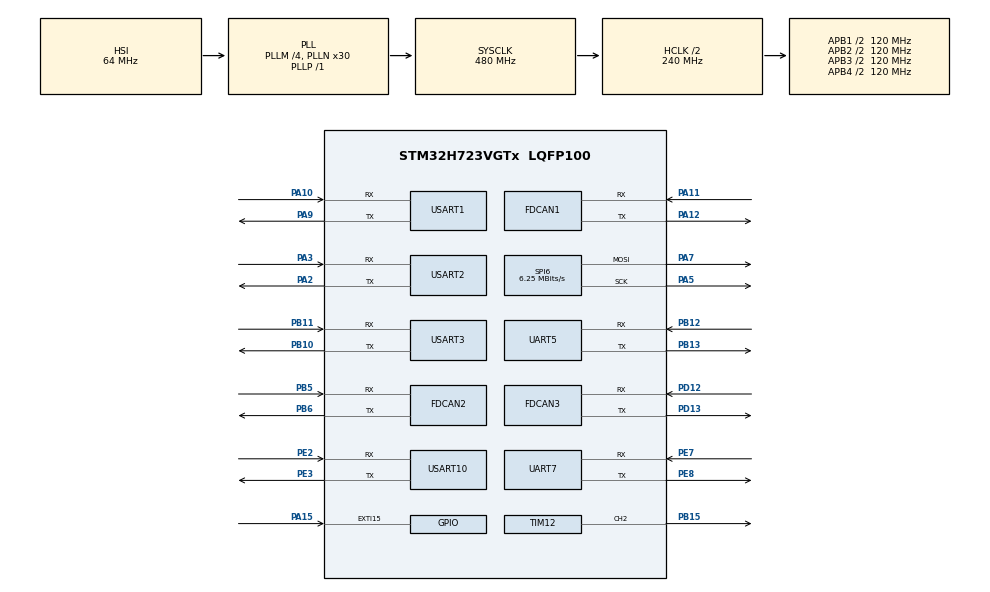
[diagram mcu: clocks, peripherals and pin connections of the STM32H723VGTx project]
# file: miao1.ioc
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Bdma.Request0=SPI6_TX
Bdma.RequestsNb=1
Bdma.SPI6_TX.0.Direction=DMA_MEMORY_TO_PERIPH
Bdma.SPI6_TX.0.EventEnable=DISABLE
Bdma.SPI6_TX.0.Instance=BDMA_Channel2
Bdma.SPI6_TX.0.MemDataAlignment=DMA_MDATAALIGN_BYTE
Bdma.SPI6_TX.0.MemInc=DMA_MINC_ENABLE
Bdma.SPI6_TX.0.Mode=DMA_NORMAL
Bdma.SPI6_TX.0.PeriphDataAlignment=DMA_PDATAALIGN_BYTE
Bdma.SPI6_TX.0.PeriphInc=DMA_PINC_DISABLE
Bdma.SPI6_TX.0.Polarity=HAL_DMAMUX_REQ_GEN_RISING
Bdma.SPI6_TX.0.Priority=DMA_PRIORITY_LOW
Bdma.SPI6_TX.0.RequestNumber=1
Bdma.SPI6_TX.0.SignalID=NONE
Bdma.SPI6_TX.0.SyncEnable=DISABLE
Bdma.SPI6_TX.0.SyncPolarity=HAL_DMAMUX_SYNC_NO_EVENT
Bdma.SPI6_TX.0.SyncRequestNumber=1
Bdma.SPI6_TX.0.SyncSignalID=NONE
Dma.Request0=USART1_RX
Dma.Request1=USART1_TX
Dma.Request10=USART10_RX
Dma.Request11=USART10_TX
Dma.Request2=USART2_RX
Dma.Request3=USART2_TX
Dma.Request4=USART3_RX
Dma.Request5=USART3_TX
Dma.Request6=UART5_RX
Dma.Request7=UART5_TX
Dma.Request8=UART7_RX
Dma.Request9=UART7_TX
Dma.UART5_RX.6.Direction=DMA_PERIPH_TO_MEMORY
Dma.UART5_RX.6.EventEnable=DISABLE
Dma.UART5_RX.6.FIFOMode=DMA_FIFOMODE_DISABLE
Dma.UART5_RX.6.Instance=DMA1_Stream6
Dma.UART5_RX.6.MemDataAlignment=DMA_MDATAALIGN_BYTE
Dma.UART5_RX.6.MemInc=DMA_MINC_ENABLE
Dma.UART5_RX.6.Mode=DMA_CIRCULAR
Dma.UART5_RX.6.PeriphDataAlignment=DMA_PDATAALIGN_BYTE
Dma.UART5_RX.6.PeriphInc=DMA_PINC_DISABLE
Dma.UART5_RX.6.Polarity=HAL_DMAMUX_REQ_GEN_RISING
Dma.UART5_RX.6.Priority=DMA_PRIORITY_LOW
Dma.UART5_RX.6.RequestNumber=1
Dma.UART5_RX.6.SignalID=NONE
Dma.UART5_RX.6.SyncEnable=DISABLE
Dma.UART5_RX.6.SyncPolarity=HAL_DMAMUX_SYNC_NO_EVENT
Dma.UART5_RX.6.SyncRequestNumber=1
Dma.UART5_RX.6.SyncSignalID=NONE
Dma.UART5_TX.7.Direction=DMA_MEMORY_TO_PERIPH
Dma.UART5_TX.7.EventEnable=DISABLE
Dma.UART5_TX.7.FIFOMode=DMA_FIFOMODE_DISABLE
Dma.UART5_TX.7.Instance=DMA1_Stream7
Dma.UART5_TX.7.MemDataAlignment=DMA_MDATAALIGN_BYTE
Dma.UART5_TX.7.MemInc=DMA_MINC_ENABLE
Dma.UART5_TX.7.Mode=DMA_NORMAL
Dma.UART5_TX.7.PeriphDataAlignment=DMA_PDATAALIGN_BYTE
Dma.UART5_TX.7.PeriphInc=DMA_PINC_DISABLE
Dma.UART5_TX.7.Polarity=HAL_DMAMUX_REQ_GEN_RISING
Dma.UART5_TX.7.Priority=DMA_PRIORITY_LOW
Dma.UART5_TX.7.RequestNumber=1
Dma.UART5_TX.7.SignalID=NONE
Dma.UART5_TX.7.SyncEnable=DISABLE
Dma.UART5_TX.7.SyncPolarity=HAL_DMAMUX_SYNC_NO_EVENT
Dma.UART5_TX.7.SyncRequestNumber=1
Dma.UART5_TX.7.SyncSignalID=NONE
Dma.UART7_RX.8.Direction=DMA_PERIPH_TO_MEMORY
Dma.UART7_RX.8.EventEnable=DISABLE
Dma.UART7_RX.8.FIFOMode=DMA_FIFOMODE_DISABLE
Dma.UART7_RX.8.Instance=DMA2_Stream0
Dma.UART7_RX.8.MemDataAlignment=DMA_MDATAALIGN_BYTE
Dma.UART7_RX.8.MemInc=DMA_MINC_ENABLE
Dma.UART7_RX.8.Mode=DMA_CIRCULAR
Dma.UART7_RX.8.PeriphDataAlignment=DMA_PDATAALIGN_BYTE
Dma.UART7_RX.8.PeriphInc=DMA_PINC_DISABLE
Dma.UART7_RX.8.Polarity=HAL_DMAMUX_REQ_GEN_RISING
Dma.UART7_RX.8.Priority=DMA_PRIORITY_LOW
Dma.UART7_RX.8.RequestNumber=1
Dma.UART7_RX.8.SignalID=NONE
Dma.UART7_RX.8.SyncEnable=DISABLE
Dma.UART7_RX.8.SyncPolarity=HAL_DMAMUX_SYNC_NO_EVENT
Dma.UART7_RX.8.SyncRequestNumber=1
Dma.UART7_RX.8.SyncSignalID=NONE
Dma.UART7_TX.9.Direction=DMA_MEMORY_TO_PERIPH
Dma.UART7_TX.9.EventEnable=DISABLE
Dma.UART7_TX.9.FIFOMode=DMA_FIFOMODE_DISABLE
Dma.UART7_TX.9.Instance=DMA2_Stream1
Dma.UART7_TX.9.MemDataAlignment=DMA_MDATAALIGN_BYTE
Dma.UART7_TX.9.MemInc=DMA_MINC_ENABLE
Dma.UART7_TX.9.Mode=DMA_NORMAL
Dma.UART7_TX.9.PeriphDataAlignment=DMA_PDATAALIGN_BYTE
Dma.UART7_TX.9.PeriphInc=DMA_PINC_DISABLE
Dma.UART7_TX.9.Polarity=HAL_DMAMUX_REQ_GEN_RISING
Dma.UART7_TX.9.Priority=DMA_PRIORITY_LOW
Dma.UART7_TX.9.RequestNumber=1
Dma.UART7_TX.9.SignalID=NONE
Dma.UART7_TX.9.SyncEnable=DISABLE
Dma.UART7_TX.9.SyncPolarity=HAL_DMAMUX_SYNC_NO_EVENT
Dma.UART7_TX.9.SyncRequestNumber=1
Dma.UART7_TX.9.SyncSignalID=NONE
Dma.USART10_RX.10.Direction=DMA_PERIPH_TO_MEMORY
Dma.USART10_RX.10.EventEnable=DISABLE
Dma.USART10_RX.10.FIFOMode=DMA_FIFOMODE_DISABLE
Dma.USART10_RX.10.Instance=DMA2_Stream2
Dma.USART10_RX.10.MemDataAlignment=DMA_MDATAALIGN_BYTE
Dma.USART10_RX.10.MemInc=DMA_MINC_ENABLE
Dma.USART10_RX.10.Mode=DMA_CIRCULAR
Dma.USART10_RX.10.PeriphDataAlignment=DMA_PDATAALIGN_BYTE
Dma.USART10_RX.10.PeriphInc=DMA_PINC_DISABLE
Dma.USART10_RX.10.Polarity=HAL_DMAMUX_REQ_GEN_RISING
Dma.USART10_RX.10.Priority=DMA_PRIORITY_LOW
Dma.USART10_RX.10.RequestNumber=1
Dma.USART10_RX.10.SignalID=NONE
Dma.USART10_RX.10.SyncEnable=DISABLE
Dma.USART10_RX.10.SyncPolarity=HAL_DMAMUX_SYNC_NO_EVENT
Dma.USART10_RX.10.SyncRequestNumber=1
Dma.USART10_RX.10.SyncSignalID=NONE
Dma.USART10_TX.11.Direction=DMA_MEMORY_TO_PERIPH
Dma.USART10_TX.11.EventEnable=DISABLE
Dma.USART10_TX.11.FIFOMode=DMA_FIFOMODE_DISABLE
Dma.USART10_TX.11.Instance=DMA2_Stream3
Dma.USART10_TX.11.MemDataAlignment=DMA_MDATAALIGN_BYTE
Dma.USART10_TX.11.MemInc=DMA_MINC_ENABLE
Dma.USART10_TX.11.Mode=DMA_NORMAL
Dma.USART10_TX.11.PeriphDataAlignment=DMA_PDATAALIGN_BYTE
Dma.USART10_TX.11.PeriphInc=DMA_PINC_DISABLE
Dma.USART10_TX.11.Polarity=HAL_DMAMUX_REQ_GEN_RISING
Dma.USART10_TX.11.Priority=DMA_PRIORITY_LOW
Dma.USART10_TX.11.RequestNumber=1
Dma.USART10_TX.11.SignalID=NONE
Dma.USART10_TX.11.SyncEnable=DISABLE
Dma.USART10_TX.11.SyncPolarity=HAL_DMAMUX_SYNC_NO_EVENT
Dma.USART10_TX.11.SyncRequestNumber=1
Dma.USART10_TX.11.SyncSignalID=NONE
Dma.USART1_RX.0.Direction=DMA_PERIPH_TO_MEMORY
Dma.USART1_RX.0.EventEnable=DISABLE
Dma.USART1_RX.0.FIFOMode=DMA_FIFOMODE_DISABLE
Dma.USART1_RX.0.Instance=DMA1_Stream0
Dma.USART1_RX.0.MemDataAlignment=DMA_MDATAALIGN_BYTE
Dma.USART1_RX.0.MemInc=DMA_MINC_ENABLE
Dma.USART1_RX.0.Mode=DMA_CIRCULAR
Dma.USART1_RX.0.PeriphDataAlignment=DMA_PDATAALIGN_BYTE
Dma.USART1_RX.0.PeriphInc=DMA_PINC_DISABLE
Dma.USART1_RX.0.Polarity=HAL_DMAMUX_REQ_GEN_RISING
Dma.USART1_RX.0.Priority=DMA_PRIORITY_LOW
Dma.USART1_RX.0.RequestNumber=1
Dma.USART1_RX.0.SignalID=NONE
Dma.USART1_RX.0.SyncEnable=DISABLE
Dma.USART1_RX.0.SyncPolarity=HAL_DMAMUX_SYNC_NO_EVENT
Dma.USART1_RX.0.SyncRequestNumber=1
Dma.USART1_RX.0.SyncSignalID=NONE
Dma.USART1_TX.1.Direction=DMA_MEMORY_TO_PERIPH
Dma.USART1_TX.1.EventEnable=DISABLE
Dma.USART1_TX.1.FIFOMode=DMA_FIFOMODE_DISABLE
Dma.USART1_TX.1.Instance=DMA1_Stream1
Dma.USART1_TX.1.MemDataAlignment=DMA_MDATAALIGN_BYTE
Dma.USART1_TX.1.MemInc=DMA_MINC_ENABLE
Dma.USART1_TX.1.Mode=DMA_NORMAL
Dma.USART1_TX.1.PeriphDataAlignment=DMA_PDATAALIGN_BYTE
Dma.USART1_TX.1.PeriphInc=DMA_PINC_DISABLE
Dma.USART1_TX.1.Polarity=HAL_DMAMUX_REQ_GEN_RISING
Dma.USART1_TX.1.Priority=DMA_PRIORITY_LOW
Dma.USART1_TX.1.RequestNumber=1
Dma.USART1_TX.1.SignalID=NONE
Dma.USART1_TX.1.SyncEnable=DISABLE
Dma.USART1_TX.1.SyncPolarity=HAL_DMAMUX_SYNC_NO_EVENT
Dma.USART1_TX.1.SyncRequestNumber=1
Dma.USART1_TX.1.SyncSignalID=NONE
Dma.USART2_RX.2.Direction=DMA_PERIPH_TO_MEMORY
Dma.USART2_RX.2.EventEnable=DISABLE
Dma.USART2_RX.2.FIFOMode=DMA_FIFOMODE_DISABLE
Dma.USART2_RX.2.Instance=DMA1_Stream2
Dma.USART2_RX.2.MemDataAlignment=DMA_MDATAALIGN_BYTE
Dma.USART2_RX.2.MemInc=DMA_MINC_ENABLE
Dma.USART2_RX.2.Mode=DMA_CIRCULAR
Dma.USART2_RX.2.PeriphDataAlignment=DMA_PDATAALIGN_BYTE
Dma.USART2_RX.2.PeriphInc=DMA_PINC_DISABLE
Dma.USART2_RX.2.Polarity=HAL_DMAMUX_REQ_GEN_RISING
Dma.USART2_RX.2.Priority=DMA_PRIORITY_LOW
Dma.USART2_RX.2.RequestNumber=1
Dma.USART2_RX.2.SignalID=NONE
Dma.USART2_RX.2.SyncEnable=DISABLE
Dma.USART2_RX.2.SyncPolarity=HAL_DMAMUX_SYNC_NO_EVENT
Dma.USART2_RX.2.SyncRequestNumber=1
Dma.USART2_RX.2.SyncSignalID=NONE
Dma.USART2_TX.3.Direction=DMA_MEMORY_TO_PERIPH
Dma.USART2_TX.3.EventEnable=DISABLE
Dma.USART2_TX.3.FIFOMode=DMA_FIFOMODE_DISABLE
Dma.USART2_TX.3.Instance=DMA1_Stream3
Dma.USART2_TX.3.MemDataAlignment=DMA_MDATAALIGN_BYTE
Dma.USART2_TX.3.MemInc=DMA_MINC_ENABLE
Dma.USART2_TX.3.Mode=DMA_NORMAL
Dma.USART2_TX.3.PeriphDataAlignment=DMA_PDATAALIGN_BYTE
Dma.USART2_TX.3.PeriphInc=DMA_PINC_DISABLE
Dma.USART2_TX.3.Polarity=HAL_DMAMUX_REQ_GEN_RISING
Dma.USART2_TX.3.Priority=DMA_PRIORITY_LOW
Dma.USART2_TX.3.RequestNumber=1
Dma.USART2_TX.3.SignalID=NONE
Dma.USART2_TX.3.SyncEnable=DISABLE
Dma.USART2_TX.3.SyncPolarity=HAL_DMAMUX_SYNC_NO_EVENT
Dma.USART2_TX.3.SyncRequestNumber=1
Dma.USART2_TX.3.SyncSignalID=NONE
Dma.USART3_RX.4.Direction=DMA_PERIPH_TO_MEMORY
Dma.USART3_RX.4.EventEnable=DISABLE
Dma.USART3_RX.4.FIFOMode=DMA_FIFOMODE_DISABLE
Dma.USART3_RX.4.Instance=DMA1_Stream4
Dma.USART3_RX.4.MemDataAlignment=DMA_MDATAALIGN_BYTE
Dma.USART3_RX.4.MemInc=DMA_MINC_ENABLE
Dma.USART3_RX.4.Mode=DMA_CIRCULAR
Dma.USART3_RX.4.PeriphDataAlignment=DMA_PDATAALIGN_BYTE
Dma.USART3_RX.4.PeriphInc=DMA_PINC_DISABLE
Dma.USART3_RX.4.Polarity=HAL_DMAMUX_REQ_GEN_RISING
Dma.USART3_RX.4.Priority=DMA_PRIORITY_LOW
Dma.USART3_RX.4.RequestNumber=1
Dma.USART3_RX.4.SignalID=NONE
Dma.USART3_RX.4.SyncEnable=DISABLE
Dma.USART3_RX.4.SyncPolarity=HAL_DMAMUX_SYNC_NO_EVENT
Dma.USART3_RX.4.SyncRequestNumber=1
Dma.USART3_RX.4.SyncSignalID=NONE
Dma.USART3_TX.5.Direction=DMA_MEMORY_TO_PERIPH
Dma.USART3_TX.5.EventEnable=DISABLE
Dma.USART3_TX.5.FIFOMode=DMA_FIFOMODE_DISABLE
Dma.USART3_TX.5.Instance=DMA1_Stream5
Dma.USART3_TX.5.MemDataAlignment=DMA_MDATAALIGN_BYTE
Dma.USART3_TX.5.MemInc=DMA_MINC_ENABLE
Dma.USART3_TX.5.Mode=DMA_NORMAL
Dma.USART3_TX.5.PeriphDataAlignment=DMA_PDATAALIGN_BYTE
Dma.USART3_TX.5.PeriphInc=DMA_PINC_DISABLE
Dma.USART3_TX.5.Polarity=HAL_DMAMUX_REQ_GEN_RISING
Dma.USART3_TX.5.Priority=DMA_PRIORITY_LOW
Dma.USART3_TX.5.RequestNumber=1
Dma.USART3_TX.5.SignalID=NONE
Dma.USART3_TX.5.SyncEnable=DISABLE
Dma.USART3_TX.5.SyncPolarity=HAL_DMAMUX_SYNC_NO_EVENT
Dma.USART3_TX.5.SyncRequestNumber=1
Dma.USART3_TX.5.SyncSignalID=NONE
FDCAN1.AutoRetransmission=DISABLE
FDCAN1.CalculateBaudRateNominal=1000000
FDCAN1.CalculateTimeBitNominal=1000
FDCAN1.CalculateTimeQuantumNominal=25.0
FDCAN1.DataPrescaler=3
FDCAN1.DataSyncJumpWidth=10
FDCAN1.DataTimeSeg1=29
FDCAN1.DataTimeSeg2=10
FDCAN1.FrameFormat=FDCAN_FRAME_FD_BRS
FDCAN1.NominalPrescaler=3
FDCAN1.NominalSyncJumpWidth=10
FDCAN1.NominalTimeSeg1=29
FDCAN1.NominalTimeSeg2=10
FDCAN1.RxBufferSize=FDCAN_DATA_BYTES_64
FDCAN1.RxFifo0ElmtSize=FDCAN_DATA_BYTES_64
FDCAN1.RxFifo0ElmtsNbr=12
FDCAN1.RxFifo1ElmtSize=FDCAN_DATA_BYTES_64
FDCAN1.StdFiltersNbr=24
FDCAN1.TxElmtSize=FDCAN_DATA_BYTES_64
FDCAN1.TxFifoQueueElmtsNbr=32
FDCAN2.CalculateBaudRateNominal=1000000
FDCAN2.CalculateTimeBitNominal=1000
FDCAN2.CalculateTimeQuantumNominal=25.0
FDCAN2.DataPrescaler=3
FDCAN2.DataSyncJumpWidth=10
FDCAN2.DataTimeSeg1=29
FDCAN2.DataTimeSeg2=10
FDCAN2.FrameFormat=FDCAN_FRAME_FD_BRS
FDCAN2.MessageRAMOffset=853
FDCAN2.NominalPrescaler=3
FDCAN2.NominalSyncJumpWidth=10
FDCAN2.NominalTimeSeg1=29
FDCAN2.NominalTimeSeg2=10
FDCAN2.RxBufferSize=FDCAN_DATA_BYTES_64
FDCAN2.RxFifo0ElmtSize=FDCAN_DATA_BYTES_64
FDCAN2.RxFifo0ElmtsNbr=12
FDCAN2.RxFifo1ElmtSize=FDCAN_DATA_BYTES_64
FDCAN2.StdFiltersNbr=24
FDCAN2.TxFifoQueueElmtsNbr=32
FDCAN3.CalculateBaudRateNominal=1000000
FDCAN3.CalculateTimeBitNominal=1000
FDCAN3.CalculateTimeQuantumNominal=25.0
FDCAN3.DataPrescaler=3
FDCAN3.DataSyncJumpWidth=10
FDCAN3.DataTimeSeg1=29
FDCAN3.DataTimeSeg2=10
FDCAN3.FrameFormat=FDCAN_FRAME_FD_BRS
FDCAN3.MessageRAMOffset=1076
FDCAN3.NominalPrescaler=3
FDCAN3.NominalSyncJumpWidth=10
FDCAN3.NominalTimeSeg1=29
FDCAN3.NominalTimeSeg2=10
FDCAN3.RxBufferSize=FDCAN_DATA_BYTES_64
FDCAN3.RxFifo0ElmtSize=FDCAN_DATA_BYTES_64
FDCAN3.RxFifo0ElmtsNbr=12
FDCAN3.RxFifo1ElmtSize=FDCAN_DATA_BYTES_64
FDCAN3.StdFiltersNbr=24
FDCAN3.TxElmtSize=FDCAN_DATA_BYTES_64
FDCAN3.TxFifoQueueElmtsNbr=32
Mcu.Family=STM32H7
Mcu.Name=STM32H723VGTx
Mcu.Package=LQFP100
NVIC.BDMA_Channel2_IRQn=true\:0\:0\:false\:false\:true\:false\:true\:true
NVIC.DMA1_Stream0_IRQn=true\:0\:0\:false\:false\:true\:false\:true\:true
NVIC.DMA1_Stream1_IRQn=true\:0\:0\:false\:false\:true\:false\:true\:true
NVIC.DMA1_Stream2_IRQn=true\:0\:0\:false\:false\:true\:false\:true\:true
NVIC.DMA1_Stream3_IRQn=true\:0\:0\:false\:false\:true\:false\:true\:true
NVIC.DMA1_Stream4_IRQn=true\:0\:0\:false\:false\:true\:false\:true\:true
NVIC.DMA1_Stream5_IRQn=true\:0\:0\:false\:false\:true\:false\:true\:true
NVIC.DMA1_Stream6_IRQn=true\:0\:0\:false\:false\:true\:false\:true\:true
NVIC.DMA1_Stream7_IRQn=true\:0\:0\:false\:false\:true\:false\:true\:true
NVIC.DMA2_Stream0_IRQn=true\:0\:0\:false\:false\:true\:false\:true\:true
NVIC.DMA2_Stream1_IRQn=true\:0\:0\:false\:false\:true\:false\:true\:true
NVIC.DMA2_Stream2_IRQn=true\:0\:0\:false\:false\:true\:false\:true\:true
NVIC.DMA2_Stream3_IRQn=true\:0\:0\:false\:false\:true\:false\:true\:true
NVIC.EXTI15_10_IRQn=true\:15\:0\:true\:false\:true\:true\:true\:true
NVIC.FDCAN1_IT0_IRQn=true\:5\:0\:true\:false\:true\:true\:true\:true
NVIC.FDCAN1_IT1_IRQn=true\:5\:0\:true\:false\:true\:true\:true\:true
NVIC.FDCAN2_IT0_IRQn=true\:5\:0\:true\:false\:true\:true\:true\:true
NVIC.FDCAN2_IT1_IRQn=true\:5\:0\:true\:false\:true\:true\:true\:true
NVIC.FDCAN3_IT0_IRQn=true\:5\:0\:true\:false\:true\:true\:true\:true
NVIC.FDCAN3_IT1_IRQn=true\:5\:0\:true\:false\:true\:true\:true\:true
NVIC.FDCAN_CAL_IRQn=true\:5\:0\:true\:false\:true\:true\:true\:true
NVIC.PriorityGroup=NVIC_PRIORITYGROUP_4
NVIC.SPI6_IRQn=true\:0\:0\:false\:false\:true\:false\:true\:true
NVIC.TIM1_UP_IRQn=true\:14\:0\:true\:false\:true\:false\:true\:true
NVIC.TimeBase=TIM1_UP_IRQn
NVIC.TimeBaseIP=TIM1
NVIC.UART5_IRQn=true\:0\:0\:false\:false\:true\:true\:true\:true
NVIC.UART7_IRQn=true\:0\:0\:false\:false\:true\:true\:true\:true
NVIC.USART10_IRQn=true\:0\:0\:false\:false\:true\:true\:true\:true
NVIC.USART1_IRQn=true\:0\:0\:false\:false\:true\:true\:true\:true
NVIC.USART2_IRQn=true\:0\:0\:false\:false\:true\:true\:true\:true
NVIC.USART3_IRQn=true\:0\:0\:false\:false\:true\:true\:true\:true
PA10.Mode=Asynchronous
PA10.Signal=USART1_RX
PA11.Mode=FDCAN_Activate
PA11.Signal=FDCAN1_RX
PA12.Mode=FDCAN_Activate
PA12.Signal=FDCAN1_TX
PA13(JTMS/SWDIO).Mode=Serial_Wire
PA13(JTMS/SWDIO).Signal=DEBUG_JTMS-SWDIO
PA14(JTCK/SWCLK).Mode=Serial_Wire
PA14(JTCK/SWCLK).Signal=DEBUG_JTCK-SWCLK
PA15(JTDI).GPIO_ModeDefaultEXTI=GPIO_MODE_IT_FALLING
PA15(JTDI).GPIO_PuPd=GPIO_PULLUP
PA15(JTDI).Signal=GPXTI15
PA2.Mode=Asynchronous
PA2.Signal=USART2_TX
PA3.Mode=Asynchronous
PA3.Signal=USART2_RX
PA5.Mode=TX_Only_Simplex_Unidirect_Master
PA5.Signal=SPI6_SCK
PA7.Mode=TX_Only_Simplex_Unidirect_Master
PA7.Signal=SPI6_MOSI
PA9.Mode=Asynchronous
PA9.Signal=USART1_TX
PB10.Mode=Asynchronous
PB10.Signal=USART3_TX
PB11.Mode=Asynchronous
PB11.Signal=USART3_RX
PB12.Mode=Asynchronous
PB12.Signal=UART5_RX
PB13.Mode=Asynchronous
PB13.Signal=UART5_TX
PB15.Signal=S_TIM12_CH2
PB5.Mode=FDCAN_Activate
PB5.Signal=FDCAN2_RX
PB6.Mode=FDCAN_Activate
PB6.Signal=FDCAN2_TX
PD12.Mode=FDCAN_Activate
PD12.Signal=FDCAN3_RX
PD13.Mode=FDCAN_Activate
PD13.Signal=FDCAN3_TX
PE2.Mode=Asynchronous
PE2.Signal=USART10_RX
PE3.Mode=Asynchronous
PE3.Signal=USART10_TX
PE7.Mode=Asynchronous
PE7.Signal=UART7_RX
PE8.Mode=Asynchronous
PE8.Signal=UART7_TX
PH0-OSC_IN.Mode=HSE-External-Oscillator
PH0-OSC_IN.Signal=RCC_OSC_IN
PH1-OSC_OUT.Mode=HSE-External-Oscillator
PH1-OSC_OUT.Signal=RCC_OSC_OUT
ProjectManager.HeapSize=0x200
ProjectManager.StackSize=0x400
ProjectManager.TargetToolchain=CMake
RCC.ADCFreq_Value=96000000
RCC.APB1Freq_Value=120000000
RCC.APB2Freq_Value=120000000
RCC.APB3Freq_Value=120000000
RCC.APB4Freq_Value=120000000
RCC.CortexFreq_Value=480000000
RCC.D1PPRE=RCC_APB3_DIV2
RCC.D2PPRE1=RCC_APB1_DIV2
RCC.D2PPRE2=RCC_APB2_DIV2
RCC.D3PPRE=RCC_APB4_DIV2
RCC.DIVM1=4
RCC.DIVM2=4
RCC.DIVN1=30
RCC.DIVN2=12
RCC.DIVP1=1
RCC.DIVQ1=4
RCC.HCLKFreq_Value=240000000
RCC.HPRE=RCC_HCLK_DIV2
RCC.PLL2FRACN=0
RCC.PLL3FRACN=0
RCC.PLLFRACN=0
RCC.SPI6CLockSelection=RCC_SPI6CLKSOURCE_HSE
RCC.SYSCLKFreq_VALUE=480000000
RCC.SYSCLKSource=RCC_SYSCLKSOURCE_PLLCLK
RCC.USBFreq_Value=120000000
SH.S_TIM12_CH2.0=TIM12_CH2,PWM Generation2 CH2
SPI6.BaudRatePrescaler=SPI_BAUDRATEPRESCALER_4
SPI6.CLKPhase=SPI_PHASE_2EDGE
SPI6.CalculateBaudRate=6.25 MBits/s
SPI6.DataSize=SPI_DATASIZE_8BIT
SPI6.Direction=SPI_DIRECTION_2LINES_TXONLY
SPI6.Mode=SPI_MODE_MASTER
SPI6.VirtualType=VM_MASTER
TIM12.AutoReloadPreload=TIM_AUTORELOAD_PRELOAD_ENABLE
TIM12.Channel-PWM\ Generation2\ CH2=TIM_CHANNEL_2
TIM12.Period=250-1
TIM12.Prescaler=550-1
USART1.VirtualMode-Asynchronous=VM_ASYNC
USART10.VirtualMode=VM_ASYNC
USART2.VirtualMode-Asynchronous=VM_ASYNC
USART3.VirtualMode-Asynchronous=VM_ASYNC
VP_MEMORYMAP_VS_MEMORYMAP.Mode=CurAppReg
VP_SYS_VS_tim1.Mode=TIM1
board=custom

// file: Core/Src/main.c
/* USER CODE BEGIN Header */
/**
  ******************************************************************************
  * @file           : main.c
  * @brief          : Main program body
  ******************************************************************************
  * @attention
  *
  * Copyright (c) 2026 STMicroelectronics.
  * All rights reserved.
  *
  * This software is licensed under terms that can be found in the LICENSE file
  * in the root directory of this software component.
  * If no LICENSE file comes with this software, it is provided AS-IS.
  *
  ******************************************************************************
  */
/* USER CODE END Header */
#include "main.h"
#include "bdma.h"
#include "dma.h"
#include "fdcan.h"
#include "spi.h"
#include "tim.h"
#include "usart.h"
#include "gpio.h"

/* USER CODE BEGIN Includes */

#include <stdio.h>

#include "string.h"
#include "../../user_config/bsp/ws2812/ws2812.h"
#include "bsp/buzzer/buzzer.h"
#include "bsp/usart/uart.h"

/* USER CODE END Includes */

void SystemClock_Config(void);

int main(void)
{

  /* MCU Configuration--------------------------------------------------------*/

  /* Reset of all peripherals, Initializes the Flash interface and the Systick. */
  HAL_Init();

  /* Configure the system clock */
  SystemClock_Config();

  /* Initialize all configured peripherals */
  MX_GPIO_Init();
  MX_BDMA_Init();
  MX_DMA_Init();
  MX_SPI6_Init();
  MX_USART1_UART_Init();
  MX_TIM12_Init();
  MX_USART2_UART_Init();
  MX_USART3_UART_Init();
  MX_UART5_Init();
  MX_UART7_Init();
  MX_USART10_UART_Init();
  MX_FDCAN1_Init();
  MX_FDCAN2_Init();
  MX_FDCAN3_Init();
  /* USER CODE BEGIN 2 */

  uart_init();
  MX_SPI6_Init();
  HAL_TIM_PWM_Start(&htim12, TIM_CHANNEL_2);

  /* USER CODE END 2 */

  /* Infinite loop */
  /* USER CODE BEGIN WHILE */
  while (1)
  {
    led_control(blue,100);
    // buzzer_alarm(50,280);
    HAL_Delay(300);
    led_control(red,100);
    // buzzer_alarm(50,2400);
    HAL_Delay(250);
    led_control(green,100);
    // buzzer_alarm(50,1200);
    HAL_Delay(280);
    led_control(black,100);
    // buzzer_alarm(0,1200);
    HAL_Delay(1000);
    // if (HAL_GPIO_ReadPin(GPIOA, GPIO_PIN_15) == GPIO_PIN_RESET)
    // {
    //   HAL_Delay(10);
    //   if (HAL_GPIO_ReadPin(GPIOA, GPIO_PIN_15) == GPIO_PIN_RESET)
    //   {
    //     buzzer_alarm(20);
    //     led_control(red,100);
    //     HAL_Delay(100);
    //     buzzer_alarm(0);
    //   }
    // }
    /* USER CODE END WHILE */

  }
}

void SystemClock_Config(void)
{
  RCC_OscInitTypeDef RCC_OscInitStruct = {0};
  RCC_ClkInitTypeDef RCC_ClkInitStruct = {0};

  /** Supply configuration update enable
  */
  HAL_PWREx_ConfigSupply(PWR_LDO_SUPPLY);

  /** Configure the main internal regulator output voltage
  */
  __HAL_PWR_VOLTAGESCALING_CONFIG(PWR_REGULATOR_VOLTAGE_SCALE0);

  while(!__HAL_PWR_GET_FLAG(PWR_FLAG_VOSRDY)) {}

  /** Initializes the RCC Oscillators according to the specified parameters
  * in the RCC_OscInitTypeDef structure.
  */
  RCC_OscInitStruct.OscillatorType = RCC_OSCILLATORTYPE_HSI|RCC_OSCILLATORTYPE_HSE;
  RCC_OscInitStruct.HSEState = RCC_HSE_ON;
  RCC_OscInitStruct.HSIState = RCC_HSI_DIV1;
  RCC_OscInitStruct.HSICalibrationValue = 64;
  RCC_OscInitStruct.PLL.PLLState = RCC_PLL_ON;
  RCC_OscInitStruct.PLL.PLLSource = RCC_PLLSOURCE_HSI;
  RCC_OscInitStruct.PLL.PLLM = 4;
  RCC_OscInitStruct.PLL.PLLN = 30;
  RCC_OscInitStruct.PLL.PLLP = 1;
  RCC_OscInitStruct.PLL.PLLQ = 4;
  RCC_OscInitStruct.PLL.PLLR = 2;
  RCC_OscInitStruct.PLL.PLLRGE = RCC_PLL1VCIRANGE_3;
  RCC_OscInitStruct.PLL.PLLVCOSEL = RCC_PLL1VCOWIDE;
  RCC_OscInitStruct.PLL.PLLFRACN = 0;
  if (HAL_RCC_OscConfig(&RCC_OscInitStruct) != HAL_OK)
  {
    Error_Handler();
  }

  /** Initializes the CPU, AHB and APB buses clocks
  */
  RCC_ClkInitStruct.ClockType = RCC_CLOCKTYPE_HCLK|RCC_CLOCKTYPE_SYSCLK
                              |RCC_CLOCKTYPE_PCLK1|RCC_CLOCKTYPE_PCLK2
                              |RCC_CLOCKTYPE_D3PCLK1|RCC_CLOCKTYPE_D1PCLK1;
  RCC_ClkInitStruct.SYSCLKSource = RCC_SYSCLKSOURCE_PLLCLK;
  RCC_ClkInitStruct.SYSCLKDivider = RCC_SYSCLK_DIV1;
  RCC_ClkInitStruct.AHBCLKDivider = RCC_HCLK_DIV2;
  RCC_ClkInitStruct.APB3CLKDivider = RCC_APB3_DIV2;
  RCC_ClkInitStruct.APB1CLKDivider = RCC_APB1_DIV2;
  RCC_ClkInitStruct.APB2CLKDivider = RCC_APB2_DIV2;
  RCC_ClkInitStruct.APB4CLKDivider = RCC_APB4_DIV2;

  if (HAL_RCC_ClockConfig(&RCC_ClkInitStruct, FLASH_LATENCY_3) != HAL_OK)
  {
    Error_Handler();
  }
}

void HAL_TIM_PeriodElapsedCallback(TIM_HandleTypeDef *htim)
{
  if (htim->Instance == TIM1)
  {
    HAL_IncTick();
  }
}

void Error_Handler(void)
{
  __disable_irq();
  while (1)
  {
  }
}
